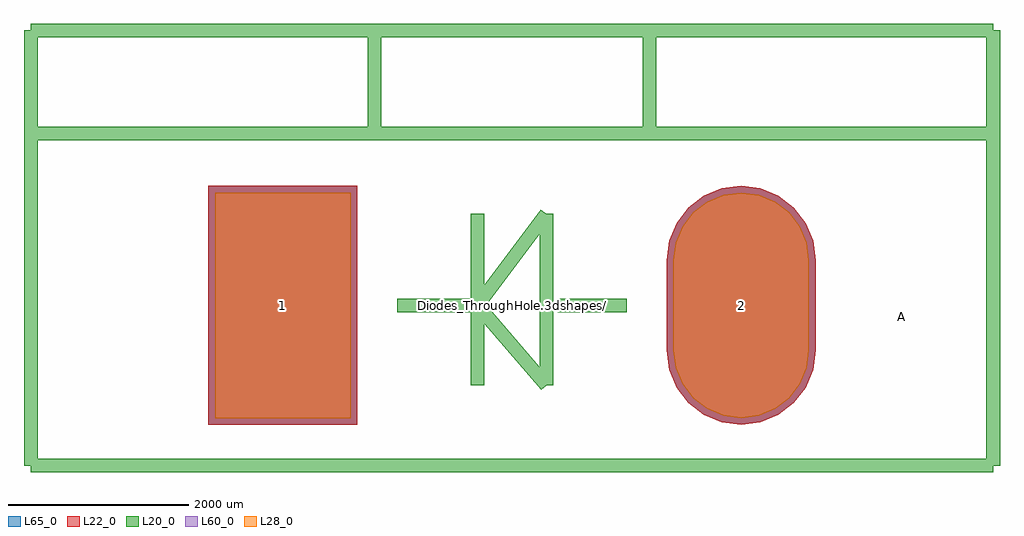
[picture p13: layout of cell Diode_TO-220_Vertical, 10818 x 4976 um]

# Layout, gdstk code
import gdstk
lib = gdstk.Library(unit=1e-6, precision=1e-09)
def R(c, l, rs):  # rectangles x0, y0, x1, y1
    for r in rs: c.add(gdstk.rectangle(r[:2], r[2:], *l))
def P(c, l, *ps):  # polygons
    for p in ps: c.add(gdstk.Polygon(p, *l))
L20_0 = (20, 0)
L22_0 = (22, 0)
L28_0 = (28, 0)
L60_0 = (60, 0)
L65_0 = (65, 0)

diode_to_220_vertical = lib.new_cell('Diode_TO-220_Vertical')
R(diode_to_220_vertical, L22_0, [(-825.57,-1324.68,825.57,1324.68)])
P(diode_to_220_vertical, L22_0, [(5080,-1324.68),(5293.673,-1296.549),(5492.785,-1214.075),(5663.766,-1082.876),(5794.965,-911.895),(5877.439,-712.783),(5905.57,-499.11),(5905.57,499.11),(5877.439,712.783),(5794.965,911.895),(5663.766,1082.876),(5492.785,1214.075),(5293.673,1296.549),(5080,1324.68),(4866.327,1296.549),(4667.215,1214.075),(4496.234,1082.876),(4365.035,911.895),(4282.561,712.783),(4254.43,499.11),(4254.43,-499.11),(4282.561,-712.783),(4365.035,-911.895),(4496.234,-1082.876),(4667.215,-1214.075),(4866.327,-1296.549)])
R(diode_to_220_vertical, L28_0, [(-750.57,-1249.68,750.57,1249.68)])
P(diode_to_220_vertical, L28_0, [(5080,-1249.68),(5274.262,-1224.105),(5455.285,-1149.123),(5610.733,-1029.843),(5730.013,-874.395),(5804.995,-693.372),(5830.57,-499.11),(5830.57,499.11),(5804.995,693.372),(5730.013,874.395),(5610.733,1029.843),(5455.285,1149.123),(5274.262,1224.105),(5080,1249.68),(4885.738,1224.105),(4704.715,1149.123),(4549.267,1029.843),(4429.987,874.395),(4355.005,693.372),(4329.43,499.11),(4329.43,-499.11),(4355.005,-693.372),(4429.987,-874.395),(4549.267,-1029.843),(4704.715,-1149.123),(4885.738,-1224.105)])
R(diode_to_220_vertical, L60_0, [(-750.57,-1249.68,750.57,1249.68)])
P(diode_to_220_vertical, L60_0, [(5080,-1249.68),(5274.262,-1224.105),(5455.285,-1149.123),(5610.733,-1029.843),(5730.013,-874.395),(5804.995,-693.372),(5830.57,-499.11),(5830.57,499.11),(5804.995,693.372),(5730.013,874.395),(5610.733,1029.843),(5455.285,1149.123),(5274.262,1224.105),(5080,1249.68),(4885.738,1224.105),(4704.715,1149.123),(4549.267,1029.843),(4429.987,874.395),(4355.005,693.372),(4329.43,499.11),(4329.43,-499.11),(4355.005,-693.372),(4429.987,-874.395),(4549.267,-1029.843),(4704.715,-1149.123),(4885.738,-1224.105)])
R(diode_to_220_vertical, L65_0, [(-825.57,-1324.68,825.57,1324.68)])
P(diode_to_220_vertical, L65_0, [(5080,-1324.68),(5293.673,-1296.549),(5492.785,-1214.075),(5663.766,-1082.876),(5794.965,-911.895),(5877.439,-712.783),(5905.57,-499.11),(5905.57,499.11),(5877.439,712.783),(5794.965,911.895),(5663.766,1082.876),(5492.785,1214.075),(5293.673,1296.549),(5080,1324.68),(4866.327,1296.549),(4667.215,1214.075),(4496.234,1082.876),(4365.035,911.895),(4282.561,712.783),(4254.43,499.11),(4254.43,-499.11),(4282.561,-712.783),(4365.035,-911.895),(4496.234,-1082.876),(4667.215,-1214.075),(4866.327,-1296.549)])
diode_to_220_vertical.add(gdstk.FlexPath([(2540,3048),(7874,3048)], 149.998, ends="flush", simple_path=True, layer=20, datatype=0))  # L20_0
diode_to_220_vertical.add(gdstk.FlexPath([(2540,3048),(-2794,3048)], 149.998, ends="flush", simple_path=True, layer=20, datatype=0))  # L20_0
diode_to_220_vertical.add(gdstk.FlexPath([(-2794,1905),(-2794,3048)], 149.998, ends="flush", simple_path=True, layer=20, datatype=0))  # L20_0
diode_to_220_vertical.add(gdstk.FlexPath([(7874,1905),(-2794,1905)], 149.998, ends="flush", simple_path=True, layer=20, datatype=0))  # L20_0
diode_to_220_vertical.add(gdstk.FlexPath([(7874,3048),(7874,1905)], 149.998, ends="flush", simple_path=True, layer=20, datatype=0))  # L20_0
diode_to_220_vertical.add(gdstk.FlexPath([(-2794,-1778),(-2794,1905)], 149.998, ends="flush", simple_path=True, layer=20, datatype=0))  # L20_0
diode_to_220_vertical.add(gdstk.FlexPath([(7874,-1778),(-2794,-1778)], 149.998, ends="flush", simple_path=True, layer=20, datatype=0))  # L20_0
diode_to_220_vertical.add(gdstk.FlexPath([(7874,1905),(7874,-1778)], 149.998, ends="flush", simple_path=True, layer=20, datatype=0))  # L20_0
diode_to_220_vertical.add(gdstk.FlexPath([(4064,3048),(4064,1905)], 149.998, ends="flush", simple_path=True, layer=20, datatype=0))  # L20_0
diode_to_220_vertical.add(gdstk.FlexPath([(1016,3048),(1016,1905)], 149.998, ends="flush", simple_path=True, layer=20, datatype=0))  # L20_0
diode_to_220_vertical.add(gdstk.FlexPath([(2159,1016),(2159,-889)], 149.998, ends="flush", simple_path=True, layer=20, datatype=0))  # L20_0
diode_to_220_vertical.add(gdstk.FlexPath([(2921,-889),(2159,0)], 149.998, ends="flush", simple_path=True, layer=20, datatype=0))  # L20_0
diode_to_220_vertical.add(gdstk.FlexPath([(2921,1016),(2921,-889)], 149.998, ends="flush", simple_path=True, layer=20, datatype=0))  # L20_0
diode_to_220_vertical.add(gdstk.FlexPath([(2159,0),(2921,1016)], 149.998, ends="flush", simple_path=True, layer=20, datatype=0))  # L20_0
diode_to_220_vertical.add(gdstk.FlexPath([(3048,0),(3810,0)], 149.998, ends="flush", simple_path=True, layer=20, datatype=0))  # L20_0
diode_to_220_vertical.add(gdstk.FlexPath([(2159,0),(1270,0)], 149.998, ends="flush", simple_path=True, layer=20, datatype=0))  # L20_0
diode_to_220_vertical.add(gdstk.Label('Diodes_ThroughHole.3dshapes/Diode_TO-220_Vertical.wrl', (2540,0), layer=12, texttype=0))
diode_to_220_vertical.add(gdstk.Label('2', (5080,0), layer=28, texttype=0))
diode_to_220_vertical.add(gdstk.Label('1', (0,0), layer=28, texttype=0))
diode_to_220_vertical.add(gdstk.Label('A', (6858,-127), layer=9, texttype=0))
diode_to_220_vertical.add(gdstk.Label('type', (2070.1,-2705.1), layer=9, texttype=0))
diode_to_220_vertical.add(gdstk.Label('devicename', (2547.62,3929.38), layer=9, texttype=0))

lib.write_gds('Diode_TO-220_Vertical.gds')
